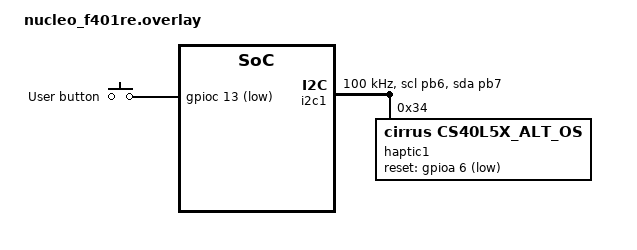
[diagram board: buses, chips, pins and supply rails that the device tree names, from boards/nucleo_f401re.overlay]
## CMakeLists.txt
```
# SPDX-License-Identifier: Apache-2.0
set(DRIVER_BASE "../../../..")
cmake_minimum_required(VERSION 3.20.0)

find_package(Zephyr REQUIRED HINTS $ENV{ZEPHYR_BASE})
project(stream_cs40l5x)

FILE(GLOB app_sources src/*.c ${DRIVER_BASE}/cs40l5x/*.c ${DRIVER_BASE}/common/fw_img.c)

# Only compile firmware data for the selected CS40L5x variant.
# Multiple firmware .c files define shared symbols.
list(REMOVE_ITEM app_sources
	${CMAKE_CURRENT_SOURCE_DIR}/src/cs40l50_firmware.c
	${CMAKE_CURRENT_SOURCE_DIR}/src/cs40l51_firmware.c
	${CMAKE_CURRENT_SOURCE_DIR}/src/cs40l52_firmware.c
	${CMAKE_CURRENT_SOURCE_DIR}/src/cs40l53_firmware.c
	${CMAKE_CURRENT_SOURCE_DIR}/src/cs40l50_pc_firmware.c)

if(CONFIG_HAPTICS_CS40L50)
	list(APPEND app_sources ${CMAKE_CURRENT_SOURCE_DIR}/src/cs40l50_firmware.c)
elseif(CONFIG_HAPTICS_CS40L51)
	list(APPEND app_sources ${CMAKE_CURRENT_SOURCE_DIR}/src/cs40l51_firmware.c)
elseif(CONFIG_HAPTICS_CS40L52)
	list(APPEND app_sources ${CMAKE_CURRENT_SOURCE_DIR}/src/cs40l52_firmware.c)
elseif(CONFIG_HAPTICS_CS40L53)
	list(APPEND app_sources ${CMAKE_CURRENT_SOURCE_DIR}/src/cs40l53_firmware.c)
elseif(CONFIG_HAPTICS_CS40L50_PC)
	list(APPEND app_sources ${CMAKE_CURRENT_SOURCE_DIR}/src/cs40l50_pc_firmware.c)
endif()

target_sources(app PRIVATE ${app_sources})

zephyr_library_add_dependencies(offsets_h)

zephyr_compile_definitions(CIRRUS_ZEPHYR_SAMPLE)

add_subdirectory(src)
```

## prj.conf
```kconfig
CONFIG_LOG=y
CONFIG_GPIO=y
CONFIG_HAPTICS=y
CONFIG_HAPTICS_CS40L5X_ALT_OS=y
CONFIG_HEAP_MEM_POOL_SIZE=8192
# Uncomment to Enable Debugging
CONFIG_SHELL=y
CONFIG_I2C_SHELL=y

CONFIG_HAPTICS_CS40L50=y
# CONFIG_HAPTICS_CS40L51 is not set
# CONFIG_HAPTICS_CS40L52 is not set
# CONFIG_HAPTICS_CS40L53 is not set
# CONFIG_HAPTICS_CS40L50_PC is not set
```

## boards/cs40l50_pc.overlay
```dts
#include <zephyr/dt-bindings/i2c/i2c.h>

&i2c1 {
        status = "okay";
        clock-frequency = <I2C_BITRATE_STANDARD>;
	pinctrl-0 = <&i2c1_scl_pb6 &i2c1_sda_pb7>;

        haptic1: cs40l50_pc@34 {
                compatible = "cirrus,cs40l5x_alt_os";
                reg = <0x34>;
                reset-gpios = <&gpioa 6 (GPIO_ACTIVE_LOW | GPIO_PULL_UP)>;
                status = "okay";
        };
};

&usart1 {
	status = "disabled";
};
```

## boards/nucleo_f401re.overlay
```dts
/*
 * Copyright (c) 2024 Cirrus Logic, Inc.
 *
 * SPDX-License-Identifier: Apache-2.0
 */

#include <zephyr/dt-bindings/i2c/i2c.h>

/ {
        aliases {
                sw0 = &button0;
        };

        buttons {
                compatible = "gpio-keys";

                button0: button_0 {
                        label = "User button";
                        gpios = <&gpioc 13 GPIO_ACTIVE_LOW>;
                        zephyr,code = <INPUT_KEY_0>;
                };
        };
};

&i2c1 {
        status = "okay";
        clock-frequency = <I2C_BITRATE_STANDARD>;
	pinctrl-0 = <&i2c1_scl_pb6 &i2c1_sda_pb7>;

        haptic1: cs40l5x@34 {
                compatible = "cirrus,cs40l5x_alt_os";
                reg = <0x34>;
                reset-gpios = <&gpioa 6 (GPIO_ACTIVE_LOW | GPIO_PULL_UP)>;
                status = "okay";
        };
};

&usart1 {
	status = "disabled";
};
```

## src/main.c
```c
/*
 * Copyright (c) Cirrus Logic 2026 All Rights Reserved, http://www.cirrus.com/
 *
 * Licensed under the Apache License, Version 2.0 (the License); you may
 * not use this file except in compliance with the License.
 * You may obtain a copy of the License at
 *
 * www.apache.org/licenses/LICENSE-2.0
 *
 * Unless required by applicable law or agreed to in writing, software
 * distributed under the License is distributed on an AS IS BASIS, WITHOUT
 * WARRANTIES OR CONDITIONS OF ANY KIND, either express or implied.
 * See the License for the specific language governing permissions and
 * limitations under the License.
 *
 */

#include <errno.h>

#include <zephyr/device.h>
#include <zephyr/devicetree.h>
#include <zephyr/kernel.h>
#include <zephyr/logging/log.h>
#include <zephyr/drivers/haptics.h>
#include <zephyr/drivers/i2c.h>
// #include "drivers/haptics/cs40l5x.h"
#include <zephyr/drivers/uart.h>
#include <zephyr/sys/util.h>
#include <sys/_stdint.h>

#define LOG_LEVEL 4

#include "cs40l5x_bsp.h"

LOG_MODULE_REGISTER(main);

/*
 * Get button configuration from the devicetree sw0 alias. This is mandatory.
 */
#define SW0_NODE DT_ALIAS(sw0)
#if !DT_NODE_HAS_STATUS_OKAY(SW0_NODE)
#error "Unsupported board: sw0 devicetree alias is not defined"
#endif
static const struct gpio_dt_spec button = GPIO_DT_SPEC_GET_OR(SW0_NODE, gpios, {0});
const struct gpio_dt_spec reset = GPIO_DT_SPEC_GET(DT_NODELABEL(haptic1), reset_gpios);

int main(void)
{
	int ret;
	// Initialize button

	if (!gpio_is_ready_dt(&button)) {
		printk("Error: button device %s is not ready\n", button.port->name);
		return 0;
	}

	ret = gpio_pin_configure_dt(&button, GPIO_INPUT);
	if (ret != 0) {
		printk("Error %d: failed to configure %s pin %d\n", ret, button.port->name,
		       button.pin);
		return 0;
	}

	const struct device *dev1 = DEVICE_DT_GET(DT_NODELABEL(haptic1));
	struct cs40l5x_haptic_source_config hap_cfg = {
		.index = CS40L5X_HAPTIC_ROM_CLICK_14_VCM,
		.bank = ROM_BANK,
	};
	cs40l5x_set_haptic_cfg(dev1, &hap_cfg);

	if (!dev1) {
		LOG_ERR("CS40L5X device not found");
		return -ENODEV;
	} else if (!device_is_ready(dev1)) {
		LOG_ERR("CS40L5X device %s is not ready", dev1->name);
		return -EIO;
	} else {
		LOG_INF("Found CS40L5X device %s", dev1->name);
	}
	// Show enabling all diagnostic tests
	uint32_t sample_diagnostic_cfg_mask = CS40L5X_DIAGNOSTIC_SHORT_CIRCUIT_TEST_CFG |
					      CS40L5X_DIAGNOSTIC_HW_TEST_CFG |
					      CS40L5X_DIAGNOSTIC_LRA_ELECTRIC_TEST_CFG |
					      CS40L5X_DIAGNOSTIC_LRA_MECHANICAL_TEST_CFG;
	haptics_cs40l5x_cfg_diagnostics(dev1, sample_diagnostic_cfg_mask);

	while (1) {
		if (gpio_pin_get_dt(&button)) {
			// Set error flag to omit VDD amp low, VDD amp high, ReDC low, and ReDC high
			// errors with sample_mask Set sample_mask to 0 to show all diagnostic
			// errors
			uint32_t sample_mask = CS40L5X_DIAG_VDD_AMP_HI | CS40L5X_DIAG_VDD_B_HI |
					       CS40L5X_DIAG_ReDC_HI | CS40L5X_DIAG_LE_HI;
			bool diagnostics_err = false;
			uint32_t diagnostics_data;

#ifdef TEST_DIAGNOSTICS_EXTREMES
			// Test low or high extremes of diagnostics test values
			bool low_extreme_test = true;
			haptics_cs40l5x_test_diagnostics(dev1, low_extreme_test);
#endif // TEST_DIAGNOSTICS_EXTREMES
			ret = haptics_cs40l5x_diagnostics(dev1, &diagnostics_data, sample_mask,
							  &diagnostics_err);
			if (ret) {
				LOG_ERR("Error running diagnostics");
			}

			if (diagnostics_err) {
				LOG_INF("Masked Diagnostic Flag TRUE");
			} else {
				LOG_INF("Masked Diagnostic Flag FALSE");
			}

			while (gpio_pin_get_dt(&button))
				;
		}
		k_msleep(10);
	}

	return 0;
}
```

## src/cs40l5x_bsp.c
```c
/*
 * Copyright (c) Cirrus Logic 2025-2026 All Rights Reserved, http://www.cirrus.com/
 *
 * Licensed under the Apache License, Version 2.0 (the License); you may
 * not use this file except in compliance with the License.
 * You may obtain a copy of the License at
 *
 * www.apache.org/licenses/LICENSE-2.0
 *
 * Unless required by applicable law or agreed to in writing, software
 * distributed under the License is distributed on an AS IS BASIS, WITHOUT
 * WARRANTIES OR CONDITIONS OF ANY KIND, either express or implied.
 * See the License for the specific language governing permissions and
 * limitations under the License.
 *
 */

#include "cs40l5x_bsp.h"
#include "cs40l5x.h"
#include <zephyr/kernel.h>
#include <zephyr/logging/log.h>
#include <zephyr/drivers/i2c.h>

LOG_MODULE_REGISTER(cirrus_cs40l5x);

struct cs40l5x_config {
	struct i2c_dt_spec i2c;
	void (*irq_cfg_func)(void);
	void (*irq_enable_func)(void);
	void (*irq_disable_func)(void);
};

int cs40l5x_i2c_write_reg_dt(const struct i2c_dt_spec *spec, const uint32_t reg_addr,
			     const uint32_t value)
{
	uint8_t addr_buf[4], data_buf[4], msg_buf[8];
	int i, j = 4;

	sys_put_be32(reg_addr, addr_buf);
	sys_put_be32(value, data_buf);

	for (i = 0; i < ARRAY_SIZE(addr_buf); i++) {
		msg_buf[i] = addr_buf[i];
		msg_buf[j] = data_buf[i];
		j++;
	}

	return i2c_write_dt(spec, msg_buf, sizeof(msg_buf));
}

int cs40l5x_i2c_read_reg_dt(const struct i2c_dt_spec *spec, const uint32_t reg_addr,
			    uint32_t *value)
{
	uint8_t write_buf[4], read_buf[4];
	int ret;

	sys_put_be32(reg_addr, write_buf);

	ret = i2c_write_read_dt(spec, write_buf, sizeof(write_buf), read_buf, sizeof(read_buf));
	if (ret < 0) {
		LOG_INF("cs40l5x_i2c_read_reg_dt error\n");
		return ret;
	}

	*value = sys_get_be32(read_buf);

	return 0;
}

int cs40l5x_update_reg_dt(const struct i2c_dt_spec *spec, const uint32_t reg_addr,
			  const uint32_t mask, const uint32_t value)
{
	uint32_t old_value, new_value;
	int ret;

	ret = cs40l5x_i2c_read_reg_dt(spec, reg_addr, &old_value);
	if (ret < 0) {
		return ret;
	}

	new_value = (old_value & ~mask) | (value & mask);
	if (new_value == old_value) {
		return 0;
	}

	return cs40l5x_i2c_write_reg_dt(spec, reg_addr, new_value);
}

/* write addr/word pairs */
int cs40l5x_write_array_dt(const struct i2c_dt_spec *spec, const uint32_t *array, uint32_t words)
{
	int i, ret;

	for (i = 0; i < words; i += 2) {
		ret = cs40l5x_i2c_write_reg_dt(spec, array[i], array[i + 1]);
		if (ret < 0) {
			return ret;
		}
	}
	return 0;
}

/**
 * Reads a register for a specific value for a specified amount of tries while waiting between
 * reads.
 *
 */
int cs40l5x_poll_reg_dt(const struct i2c_dt_spec *spec, const uint32_t reg_addr, uint32_t value,
			uint32_t tries, uint32_t delay)
{
	uint32_t tmp;
	int i, ret;

	for (i = 0; i < tries; i++) {
		ret = cs40l5x_i2c_read_reg_dt(spec, reg_addr, &tmp);
		if (ret < 0) {
			return ret;
		}

		if (tmp == value) {
			return 0;
		}

		k_msleep(delay);
	}
	return 0;
}

int cs40l5x_write_acked_reg_dt(const struct i2c_dt_spec *spec, const uint32_t reg_addr,
			       uint32_t val, uint32_t acked_val, uint8_t tries, uint32_t delay)
{
	int i, ret;

	ret = cs40l5x_i2c_write_reg_dt(spec, reg_addr, val);
	if (ret < 0) {
		return ret;
	}

	for (i = 0; i < tries; i++) {
		uint32_t temp_reg_val;

		k_msleep(delay);

		cs40l5x_i2c_read_reg_dt(spec, reg_addr, &temp_reg_val);

		if (temp_reg_val == acked_val) {
			return 0;
		}
	}

	return -1;
}

int cs40l5x_i2c_write_bulk_bus(const struct i2c_dt_spec *spec, const uint32_t reg_addr,
			       const uint8_t *buf, unsigned int num_bytes, uint16_t bus_addr)
{
	uint8_t addr_buf[4], *msg_buf;
	int i = 4, ret = 0;

	LOG_INF("cs40l5x_i2c_write_bulk_bus: reg=%x size=%d\n", reg_addr, num_bytes);

	msg_buf = k_malloc(num_bytes + 4);
	if (!msg_buf) {
		return -ENOMEM;
	}

	sys_put_be32(reg_addr, addr_buf);

	for (i = 0; i < ARRAY_SIZE(addr_buf); i++) {
		msg_buf[i] = addr_buf[i];
	}

	bytecpy(msg_buf + 4, buf, num_bytes);

	ret = i2c_write(spec->bus, msg_buf, 4 + num_bytes, bus_addr);

	k_free(msg_buf);
	return ret;
}

int cs40l5x_i2c_write_bus(const struct i2c_dt_spec *spec, const uint32_t reg_addr, uint32_t val,
			  uint16_t bus_addr)
{
	uint8_t addr_buf[4], data_buf[4], *msg_buf;
	int ret = 0;

	LOG_INF("cs40l5x_i2c_write_bus: reg=%x\n", reg_addr);

	msg_buf = k_malloc(8);
	if (!msg_buf) {
		return -ENOMEM;
	}

	sys_put_be32(reg_addr, addr_buf);
	sys_put_be32(val, data_buf);

	bytecpy(msg_buf, addr_buf, 4);
	bytecpy(msg_buf + 4, data_buf, 4);

	ret = i2c_write(spec->bus, msg_buf, 8, bus_addr);

	k_free(msg_buf);
	return ret;
}

int cs40l5x_i2c_write_bulk_dt(const struct i2c_dt_spec *spec, const uint32_t reg_addr,
			      const uint8_t *buf, unsigned int num_bytes)
{
	uint8_t addr_buf[4], *msg_buf;
	int i = 4, ret = 0;

	LOG_INF("cs40l5x_i2c_write_bulk_dt: reg=%x size=%d\n", reg_addr, num_bytes);

	msg_buf = k_malloc(num_bytes + 4);
	if (!msg_buf) {
		return -ENOMEM;
	}

	sys_put_be32(reg_addr, addr_buf);

	for (i = 0; i < ARRAY_SIZE(addr_buf); i++) {
		msg_buf[i] = addr_buf[i];
	}

	bytecpy(msg_buf + 4, buf, num_bytes);

	ret = i2c_write_dt(spec, msg_buf, sizeof(msg_buf) + num_bytes);

	k_free(msg_buf);
	return ret;
}

int cs40l5x_set_haptic_cfg(const struct device *dev, struct cs40l5x_haptic_source_config *hap_cfg)
{
	struct cs40l5x_bsp *data = dev->data;
	data->hap_cfg = *hap_cfg;
	return 0;
}

static int cs40l5x_write_fw_blocks(struct i2c_dt_spec *i2c, halo_boot_block_t *blocks,
				   int num_blocks)
{
	int i, ret;
	halo_boot_block_t block;
	uint32_t bytes, address;
	uint8_t *buffer;

	for (i = 0; i < num_blocks; i++) {
		block = blocks[i];
		bytes = block.block_size;
		address = block.address;
		buffer = (uint8_t *)block.bytes;
		ret = cs40l5x_i2c_write_bulk_dt(i2c, address, buffer, bytes);
		if (ret != 0) {
			return ret;
		}
		k_msleep(5);
	}

	return 0;
}

static int cs40l5x_gpi_get_level(cs40l5x_t *drv, unsigned int gpio)
{
	uint32_t gpio_status;
	struct i2c_dt_spec *i2c = drv->config.bsp_config.i2c;

	if (gpio > 13) {
		return -1;
	}

	regmap_read(i2c, CS40L5X_GPIO_STATUS1, &gpio_status);

	return ((gpio_status & (1 << (gpio - 1))) != 0);
}

enum cs40l5x_tuning_set {
	CS40L5X_TUNING_SET_A,
	CS40L5X_TUNING_SET_B,
};

static unsigned int get_tuning_set(cs40l5x_t *drv)
{
	// struct i2c_dt_spec *i2c = drv->config.bsp_config.i2c;
	int gpi_level;

	gpi_level = cs40l5x_gpi_get_level(drv, 1);
	return gpi_level;
}

/* NOTE: Example tunings and wavetable are not designed for general-purpose applications and should
 * be used for verification purposes only. Please contact your Cirrus Logic representative for
 * application specific waveforms and tunings
 */
static int cs40l5x_firmware_load(cs40l5x_t *drv)
{
	int num_blocks, ret;
	halo_boot_block_t *blocks;
	struct i2c_dt_spec *i2c = drv->config.bsp_config.i2c;
	uint32_t tuning_set;

	tuning_set = get_tuning_set(drv);

	num_blocks = cs40l5x_total_fw_blocks;
	blocks = (halo_boot_block_t *)cs40l5x_fw_blocks;
	ret = cs40l5x_write_fw_blocks(i2c, blocks, num_blocks);
	if (ret != 0) {
		return ret;
	}

	num_blocks = cs40l5x_total_coeff_blocks_0;
	blocks = (halo_boot_block_t *)cs40l5x_coeff_0_blocks;
	ret = cs40l5x_write_fw_blocks(i2c, blocks, num_blocks);
	if (ret != 0) {
		return ret;
	}

	LOG_INF("Loaded wavetable");
	return 0;
}

static int cs40l5x_clear_gpio_triggers(cs40l5x_t *drv)
{
	int i;
	struct i2c_dt_spec *i2c = drv->config.bsp_config.i2c;

	for (i = 0; i < 16; i++) {
		regmap_write(i2c, CS40L5X_GPIO_HANDLERS_BASE + i * 4, 0x1FF);
	}

	return 0;
}

static int cs40l5x_setup_gpi(cs40l5x_t *drv, unsigned int gpio)
{
	struct i2c_dt_spec *i2c = drv->config.bsp_config.i2c;

	if (gpio > 13) {
		return -1;
	}

	regmap_write(i2c, CS40L5X_GPIO_CTRL1 + (4 * (gpio - 1)),
		     CS40L5X_GPIO_CTRL_DIR_BITMASK | CS40L5X_GPIO_CTRL_FN_INPUT_OUTPUT);
	return 0;
}

static uint32_t cs40l5x_set_timer(uint32_t duration_ms, bsp_callback_t cb, void *cb_arg)
{
	k_msleep(duration_ms);
	return 0;
}

static uint32_t cs40l5x_register_gpio_cb(const struct gpio_dt_spec *gpio, bsp_callback_t cb,
					 void *cb_arg)
{
	// TODO
	return 0;
}

static uint32_t cs40l5x_set_gpio(const struct gpio_dt_spec *gpio, uint8_t gpio_state)
{
	// TODO
	return 0;
}

bsp_driver_if_t cs40l5x_bsp_driver_if = {.set_timer = cs40l5x_set_timer,
					 .register_gpio_cb = cs40l5x_register_gpio_cb,
					 .set_gpio = cs40l5x_set_gpio};

bsp_driver_if_t *bsp_driver_if_g = &cs40l5x_bsp_driver_if;

/* ===================================================================================== */

static int cs40l5x_init(const struct device *dev)
{
	struct cs40l5x_config *config = (struct cs40l5x_config *)dev->config;
	struct cs40l5x_bsp *data = dev->data;
	cs40l5x_t *drv = &data->priv;
	uint32_t val;
	int ret;
	LOG_INF("cs40l5x_init\n");

	drv->config.bsp_config.i2c = &config->i2c;
	drv->config.syscfg_regs = cs40l5x_syscfg_regs;
	drv->config.syscfg_regs_total = CS40L5X_SYSCFG_REGS_TOTAL;
	drv->config.is_ext_bst = true;

	static const struct gpio_dt_spec reset =
		GPIO_DT_SPEC_GET(DT_NODELABEL(haptic1), reset_gpios);

	if (!gpio_is_ready_dt(&reset)) {
		LOG_INF("cs40l5x reset pin GPIO port is not ready.\n");
		return 0;
	}

	ret = gpio_pin_configure_dt(&reset, GPIO_OUTPUT_INACTIVE);
	if (ret != 0) {
		LOG_INF("cs40l5x configuring reset pin failed: %d\n", ret);
		return 0;
	}

	drv->config.bsp_config.reset_gpio_id = &reset;
	// Activate RESET for at least T_RLPW (1ms)
	gpio_pin_set_dt(&reset, BSP_GPIO_ACTIVE);
	k_msleep(2);
	// Wait for Lochnagar to boot
	gpio_pin_set_dt(&reset, BSP_GPIO_INACTIVE);
	k_msleep(2500);

	if (!i2c_is_ready_dt(&config->i2c)) {
		LOG_INF("cs40l5x no I2C\n");
		return -ENODEV;
	}

	ret = cs40l5x_reset(drv);
	if (ret < 0) {
		return ret;
	}

	regmap_read(&config->i2c, FIRMWARE_CS40L5X_HALO_STATE, &val);
	LOG_INF("cs40l5x_init: HALO_STATE = %x\n", val);

	LOG_INF("cs40l5x_calibrate\n");
	ret = cs40l5x_calibrate(drv);
	if (ret < 0) {
		LOG_INF("cs40l5x_calibrate error\n");
		return ret;
	}

	ret = cs40l5x_boot(drv, NULL);
	if (ret < 0) {
		LOG_INF("cs40l5x_boot error\n");
		return ret;
	}

	cs40l5x_setup_gpi(drv, 1);

	LOG_INF("cs40l5x_firmware_load\n");
	ret = cs40l5x_firmware_load(drv);
	if (ret < 0) {
		LOG_INF("cs40l5x_firmware_load error\n");
		return ret;
	}

	ret = regmap_write(&config->i2c, CS40L5X_DSP1_CCM_CORE_CONTROL, 0x00000281);
	if (ret < 0) {
		LOG_INF("cs40l5x_boot error\n");
		return ret;
	}

	cs40l5x_clear_gpio_triggers(drv);

	k_msleep(1000);

	/* to-do */
	regmap_read(&config->i2c, FIRMWARE_CS40L5X_HALO_STATE, &val);
	LOG_INF("cs40l5x_init: HALO_STATE = %x\n", val);

	//    config->irq_cfg_func();
	//    config->irq_enable_func();

	return 0;
}

static int haptics_cs40l5x_stop_output(const struct device *dev)
{
	return 0;
}

static int haptics_cs40l5x_start_output(const struct device *dev)
{
	struct cs40l5x_bsp *data = (struct cs40l5x_bsp *)dev->data;
	LOG_INF("haptics_cs40l5x_start_output, bank=%x, index=%x\n", data->hap_cfg.bank,
		data->hap_cfg.index);

	cs40l5x_trigger(&data->priv, data->hap_cfg.index, data->hap_cfg.bank);

	return 0;
}

static int haptics_cs40l5x_decode_diagnostics(uint32_t data)
{
	for (int i = 0; i < NUM_DIAGNOSTIC_FLAGS; i++) {
		if (data & cs40l5x_diag_flags[i].value) {
			LOG_INF("Diagnostics error %d: %s", i, cs40l5x_diag_flags[i].msg);
		}
	}
	return BSP_STATUS_OK;
}

int haptics_cs40l5x_cfg_diagnostics(const struct device *dev, uint32_t test_mask)
{
	uint32_t ret;
	struct cs40l5x_bsp *data = dev->data;
	cs40l5x_t *drv = &data->priv;
	drv->config.diag_data.diagnostics_config = test_mask & CS40L5X_DIAGNOSTIC_TEST_CFG_MASK;
	ret = cs40l5x_set_diagnostic_config(drv);
	return ret;
}

int haptics_cs40l5x_diagnostics(const struct device *dev, uint32_t *diag_data, uint32_t mask,
				bool *mask_flag)
{
#if defined(CONFIG_HAPTICS_CS40L53)
	LOG_ERR("Diagnostics not supported for L53 firmware!");
	return BSP_STATUS_FAIL;

#elif defined(CONFIG_HAPTICS_CS40L50) || defined(CONFIG_HAPTICS_CS40L51) ||                        \
	defined(CONFIG_HAPTICS_CS40L52)
	uint32_t ret;
	struct cs40l5x_config *config = (struct cs40l5x_config *)dev->config;
	struct cs40l5x_bsp *data = dev->data;
	cs40l5x_t *drv = &data->priv;

	ret = cs40l5x_diagnostics(drv);
	if (ret) {
		return ret;
	}
	ret = regmap_read(&config->i2c, DIAGNOSTICS_RESULT, diag_data);
	if (ret) {
		return ret;
	}

	haptics_cs40l5x_decode_diagnostics(*diag_data);
	if (*diag_data & ~mask) {
		*mask_flag = true;
	} else {
		*mask_flag = false;
	}
	return BSP_STATUS_OK;
#endif
}

#ifdef TEST_DIAGNOSTICS_EXTREMES
int haptics_cs40l5x_test_diagnostics(const struct device *dev, bool low)
{
	uint32_t ret;
	struct cs40l5x_config *config = (struct cs40l5x_config *)dev->config;
	struct cs40l5x_bsp *data = dev->data;
	cs40l5x_t *drv = &data->priv;

	if (low) {
		LOG_INF("\nTest \"too low\" flags...");

		ret = regmap_write(&config->i2c, DIAGNOSTICS_VDD_AMP_MIN, 4514);
		if (ret) {
			return ret;
		}
		ret = regmap_write(&config->i2c, DIAGNOSTICS_VDD_B_MIN, 4514);
		if (ret) {
			return ret;
		}
		ret = regmap_write(&config->i2c, DIAGNOSTICS_REDC_MIN, 0x7fffff);
		if (ret) {
			return ret;
		}
		ret = regmap_write(&config->i2c, DIAGNOSTICS_LE_MIN, 0x7fffff);
		if (ret) {
			return ret;
		}
		ret = regmap_write(&config->i2c, DIAGNOSTICS_F0_MIN, 0x7fffff);
		if (ret) {
			return ret;
		}
		ret = regmap_write(&config->i2c, DIAGNOSTICS_Q_MIN, 0x7fffff);
		if (ret) {
			return ret;
		}
		ret = regmap_write(&config->i2c, DIAGNOSTICS_BEMF_MIN, 0x7fffff);
		if (ret) {
			return ret;
		}
		ret = regmap_write(&config->i2c, DIAGNOSTICS_ZRES_MIN, 0x7fffff);
		if (ret) {
			return ret;
		}
	} else {
		LOG_INF("\n\nTest \"too high\" flags...");

		ret = regmap_write(&config->i2c, DIAGNOSTICS_VDD_AMP_MAX, 0x0);
		if (ret) {
			return ret;
		}
		ret = regmap_write(&config->i2c, DIAGNOSTICS_VDD_B_MAX, 0x0);
		if (ret) {
			return ret;
		}
		ret = regmap_write(&config->i2c, DIAGNOSTICS_REDC_MAX, 0x0);
		if (ret) {
			return ret;
		}
		ret = regmap_write(&config->i2c, DIAGNOSTICS_LE_MAX, 0x0);
		if (ret) {
			return ret;
		}
		ret = regmap_write(&config->i2c, DIAGNOSTICS_F0_MAX, 0x0);
		if (ret) {
			return ret;
		}
		ret = regmap_write(&config->i2c, DIAGNOSTICS_Q_MAX, 0x0);
		if (ret) {
			return ret;
		}
		ret = regmap_write(&config->i2c, DIAGNOSTICS_BEMF_MAX, 0x0);
		if (ret) {
			return ret;
		}
		ret = regmap_write(&config->i2c, DIAGNOSTICS_ZRES_MAX, 0x0);
		if (ret) {
			return ret;
		}

		return BSP_STATUS_OK;
	}
}
#endif // TEST_DIAGNOSTICS_EXTREMES

static const struct haptics_driver_api cs40l5x_driver_api = {
	.start_output = &haptics_cs40l5x_start_output,
	.stop_output = &haptics_cs40l5x_stop_output,
};

// static void cs40l5x_isr(void *arg)
// {
// }

#define CS40L5X_INIT(inst)                                                                         \
                                                                                                   \
	static const struct cs40l5x_config cs40l5x_config_##inst = {                               \
		.i2c = I2C_DT_SPEC_INST_GET(inst),                                                 \
	};                                                                                         \
                                                                                                   \
	static struct cs40l5x_bsp cs40l5x_bsp_data_##inst = {                                      \
                                                                                                   \
	};                                                                                         \
                                                                                                   \
	PM_DEVICE_DT_INST_DEFINE(inst, cs40l5x_pm_action);                                         \
                                                                                                   \
	DEVICE_DT_INST_DEFINE(inst, &cs40l5x_init, NULL, &cs40l5x_bsp_data_##inst,                 \
			      &cs40l5x_config_##inst, POST_KERNEL, CONFIG_HAPTICS_INIT_PRIORITY,   \
			      &cs40l5x_driver_api);

DT_INST_FOREACH_STATUS_OKAY(CS40L5X_INIT)

/* ===================================================================================== */
```

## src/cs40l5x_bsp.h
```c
/*
 * Copyright (c) Cirrus Logic 2026 All Rights Reserved, http://www.cirrus.com/
 *
 * Licensed under the Apache License, Version 2.0 (the License); you may
 * not use this file except in compliance with the License.
 * You may obtain a copy of the License at
 *
 * www.apache.org/licenses/LICENSE-2.0
 *
 * Unless required by applicable law or agreed to in writing, software
 * distributed under the License is distributed on an AS IS BASIS, WITHOUT
 * WARRANTIES OR CONDITIONS OF ANY KIND, either express or implied.
 * See the License for the specific language governing permissions and
 * limitations under the License.
 *
 */

#ifndef CS40L5X_BSP_H
#define CS40L5X_BSP_H

#define DT_DRV_COMPAT cirrus_cs40l5x_alt_os

#include "cs40l5x.h"
#include <stdbool.h>

#include <zephyr/sys/byteorder.h>
#include <zephyr/device.h>
#include <zephyr/pm/device.h>
#include <zephyr/pm/device_runtime.h>
#include <zephyr/devicetree.h>
#include <zephyr/drivers/gpio.h>
#include <zephyr/drivers/haptics.h>
#include <zephyr/irq.h>
#include <zephyr/kernel.h>
#include <zephyr/logging/log.h>
#include <zephyr/sys/util.h>

#ifdef CONFIG_HAPTICS_CS40L50
#include "cs40l50_firmware.h"
#define cs40l5x_total_fw_blocks cs40l50_total_fw_blocks
#define cs40l5x_fw_blocks       cs40l50_fw_blocks

#define cs40l5x_total_coeff_blocks_0 cs40l50_total_coeff_blocks_0
#define cs40l5x_coeff_0_blocks       cs40l50_coeff_0_blocks
#endif

#ifdef CONFIG_HAPTICS_CS40L50_PC
#include "cs40l50_pc_firmware.h"
#define cs40l5x_total_fw_blocks cs40l50_pc_total_fw_blocks
#define cs40l5x_fw_blocks       cs40l50_pc_fw_blocks

#define cs40l5x_total_coeff_blocks_0 cs40l50_pc_total_coeff_blocks_0
#define cs40l5x_coeff_0_blocks       cs40l50_pc_coeff_0_blocks
#endif

#ifdef CONFIG_HAPTICS_CS40L51
#include "cs40l51_firmware.h"
#define cs40l5x_total_fw_blocks cs40l51_total_fw_blocks
#define cs40l5x_fw_blocks       cs40l51_fw_blocks

#define cs40l5x_total_coeff_blocks_0 cs40l51_total_coeff_blocks_0
#define cs40l5x_coeff_0_blocks       cs40l51_coeff_0_blocks
#endif

#ifdef CONFIG_HAPTICS_CS40L52
#include "cs40l52_firmware.h"
#define cs40l5x_total_fw_blocks cs40l52_total_fw_blocks
#define cs40l5x_fw_blocks       cs40l52_fw_blocks

#define cs40l5x_total_coeff_blocks_0 cs40l52_total_coeff_blocks_0
#define cs40l5x_coeff_0_blocks       cs40l52_coeff_0_blocks
#endif

#ifdef CONFIG_HAPTICS_CS40L53
#include "cs40l53_firmware.h"
#define cs40l5x_total_fw_blocks cs40l53_total_fw_blocks
#define cs40l5x_fw_blocks       cs40l53_fw_blocks

#define cs40l5x_total_coeff_blocks_0 cs40l53_total_coeff_blocks_0
#define cs40l5x_coeff_0_blocks       cs40l53_coeff_0_blocks
#endif

#define regmap_cp_config_t     struct i2c_dt_spec
#define REGMAP_GET_CP(x)       x->config.bsp_config.i2c
#define regmap_read            cs40l5x_i2c_read_reg_dt
#define regmap_write           cs40l5x_i2c_write_reg_dt
#define regmap_update_reg      cs40l5x_update_reg_dt
#define regmap_write_array     cs40l5x_write_array_dt
#define regmap_poll_reg        cs40l5x_poll_reg_dt
#define regmap_write_acked_reg cs40l5x_write_acked_reg_dt
#define regmap_write_blocks    cs40l5x_i2c_write_bulk_dt

// Enable or disable range testing of maximum and minimum diagnostic flags
// #define TEST_DIAGNOSTICS_EXTREMES

/***********************************************************************************************************************
 * LITERALS & CONSTANTS
 **********************************************************************************************************************/

/**
 * @defgroup BSP_STATUS_
 * @brief Return values for all public and most private API calls
 *
 * @{
 */
#define BSP_STATUS_OK   (0)
#define BSP_STATUS_FAIL (1)
/** @} */

/**
 * @defgroup BSP_TIMER_DURATION_
 * @brief Values used for calls to BSP timer APIs
 *
 * @see bsp_driver_if_t.set_timer
 *
 * @{
 */
#define BSP_TIMER_DURATION_1MS  (1)
#define BSP_TIMER_DURATION_2MS  (2)
#define BSP_TIMER_DURATION_5MS  (5)
#define BSP_TIMER_DURATION_10MS (10)
#define BSP_TIMER_DURATION_2S   (2000)
/** @} */

/**
 * Value to indicate driving a GPIO low
 *
 * @see bsp_driver_if_t.set_gpio
 *
 */
#define BSP_GPIO_LOW      (0)
#define BSP_GPIO_INACTIVE (0)

/**
 * Value to indicate driving a GPIO high
 *
 * @see bsp_driver_if_t.set_gpio
 *
 */
#define BSP_GPIO_HIGH   (1)
#define BSP_GPIO_ACTIVE (1)

/**
 * Value to indicate enabling or disabling a supply
 *
 * @see bsp_driver_if_t.set_supply
 *
 */
#define BSP_SUPPLY_DISABLE (0)
#define BSP_SUPPLY_ENABLE  (1)

/***********************************************************************************************************************
 * MACROS
 **********************************************************************************************************************/

/**
 * Macro to extract byte from multi-byte word
 *
 * @param [in] A                multi-byte word
 * @param [in] B                zero-indexed byte position
 *
 * @return                      byte at position B in word A
 */
#define GET_BYTE_FROM_WORD(A, B) ((A >> (B * 8)) & 0xFF)

/**
 * Macro to insert byte into multi-byte word
 *
 * @param [in, out] A           multi-byte word
 * @param [in] B                byte value
 * @param [in] C                zero-indexed byte position
 *
 * @return none
 */
#define ADD_BYTE_TO_WORD(A, B, C)                                                                  \
	{                                                                                          \
		A &= (0xFFFFFF00 << (C * 8));                                                      \
		A |= ((B & 0xFF) << (C * 8));                                                      \
	}

/***********************************************************************************************************************
 * ENUMS, STRUCTS, UNIONS, TYPEDEFS
 **********************************************************************************************************************/

/**
 * Callback type for BSP-to-Driver callbacks
 *
 * @param [in] status           Result of BSP call
 * @param [in] arg              Argument registered when BSP call was issued
 *
 * @return none
 *
 * @see BSP_STATUS_
 *
 */
typedef void (*bsp_callback_t)(uint32_t status, void *arg);

/**
 * BSP-to-Driver public API
 *
 * All API calls return a status @see CS40L5X_STATUS_
 *
 */
typedef struct {
	/**
	 * Set GPIO to LOW/HIGH
	 *
	 * @param [in] gpio_id      ID for GPIO to change - can be defined in implementation header
	 * @param [in] gpio_state   LOW or HIGH
	 *
	 * @return
	 * - BSP_STATUS_FAIL        if gpio_id is invalid, or call to MCU HAL fails
	 * - BSP_STATUS_OK          otherwise
	 *
	 * @see BSP_GPIO_LOW BSP_GPIO_HIGH
	 *
	 */
	uint32_t (*set_gpio)(const struct gpio_dt_spec *gpio_id, uint8_t gpio_state);

	/**
	 * Enable or disable a supply
	 *
	 * @param [in] supply_id      ID for supply to change - can be defined in implementation
	 * header
	 * @param [in] supply_state   Enable or Disable
	 *
	 * @return
	 * - BSP_STATUS_FAIL        if gpio_id is invalid, or call to MCU HAL fails
	 * - BSP_STATUS_OK          otherwise
	 *
	 * @note this function shouldn't return until the supply has finished rising or falling
	 *
	 * @see BSP_SUPPLY_ENABLE BSP_SUPPLY_DISABLE
	 *
	 */
	uint32_t (*set_supply)(uint32_t supply_id, uint8_t supply_state);

	/**
	 * Register GPIO Callback
	 *
	 * Register a callback for when a GPIO changes state.
	 *
	 * @param [in] gpio_id      ID for GPIO to change - can be defined in implementation header
	 * @param [in] cb           pointer to callback function
	 * @param [in] cb_arg       pointer to argument to use when calling callback
	 *
	 * @return
	 * - BSP_STATUS_FAIL        if gpio_id is invalid, if any pointers are NULL
	 * - BSP_STATUS_OK          otherwise
	 *
	 */
	uint32_t (*register_gpio_cb)(const struct gpio_dt_spec *gpio, bsp_callback_t cb,
				     void *cb_arg);

	/**
	 * Set a timer to expire
	 *
	 * @param [in] duration_ms  Duration of timer in milliseconds
	 * @param [in] cb           pointer to callback function
	 * @param [in] cb_arg       pointer to argument to use when calling callback
	 *
	 * @return
	 * - BSP_STATUS_FAIL        if duration_ms is invalid, if any pointers are NULL
	 * - BSP_STATUS_OK          otherwise
	 *
	 */
	uint32_t (*set_timer)(uint32_t duration_ms, bsp_callback_t cb, void *cb_arg);

	/**
	 * Reset I2C Port used for a specific device
	 *
	 * Abort the current I2C transaction and reset the I2C peripheral.  This is required for
	 * quickly handling of CS40L5X IRQ events.
	 *
	 * @param [in] bsp_dev_id       ID of the I2C device corresponding to the I2C peripheral to
	 * reset
	 * @param [out] was_i2c_busy    flag to indicate whether an I2C transaction was in progress
	 * when reset
	 *
	 * @return
	 * - BSP_STATUS_FAIL        if bsp_dev_id is invalid
	 * - BSP_STATUS_OK          otherwise
	 *
	 */
	uint32_t (*i2c_reset)(uint32_t bsp_dev_id, bool *was_i2c_busy);

	/**
	 * Perform an I2C Write-Repeated Start-Read transaction
	 *
	 * This is the common way to read data from an I2C device with a register file, since the
	 * address of the register to read must first be written to the device before reading any
	 * contents.
	 *
	 * Perform transaction in the order:
	 * 1. I2C Start
	 * 2. I2C write of \b write_length bytes from \b write_buffer
	 * 3. I2C Repeated Start
	 * 4. I2C read of \b read_length bytes into \b read_buffer
	 * 5. I2C Stop
	 *
	 * BSP will decode \b bsp_dev_id to the correct I2C bus and I2C address.
	 *
	 * @param [in] bsp_dev_id       ID of the I2C device corresponding to the I2C peripheral to
	 * reset
	 * @param [in] write_buffer     pointer to array of bytes to write
	 * @param [in] write_length     total number of bytes in \b write_buffer
	 * @param [in] read_buffer      pointer to array of bytes to load with I2C bytes read
	 * @param [in] read_length      total number of bytes to read into \b read_buffer
	 * @param [in] cb               pointer to callback function
	 * @param [in] cb_arg           pointer to argument to use when calling callback
	 *
	 * @return
	 * - BSP_STATUS_FAIL            if bsp_dev_id is invalid, if any portion of I2C transaction
	 * failed
	 * - BSP_STATUS_OK              otherwise
	 *
	 */
	uint32_t (*i2c_read_repeated_start)(uint32_t bsp_dev_id, uint8_t *write_buffer,
					    uint32_t write_length, uint8_t *read_buffer,
					    uint32_t read_length, bsp_callback_t cb, void *cb_arg);

	/**
	 * Perform I2C Write
	 *
	 * BSP will decode \b bsp_dev_id to the correct I2C bus and I2C address.
	 *
	 * @param [in] bsp_dev_id       ID of the I2C device corresponding to the I2C peripheral to
	 * reset
	 * @param [in] write_buffer     pointer to array of bytes to write
	 * @param [in] write_length     total number of bytes in \b write_buffer
	 * @param [in] cb               pointer to callback function
	 * @param [in] cb_arg           pointer to argument to use when calling callback
	 *
	 * @return
	 * - BSP_STATUS_FAIL            if bsp_dev_id is invalid, if any portion of I2C transaction
	 * failed
	 * - BSP_STATUS_OK              otherwise
	 *
	 */
	uint32_t (*i2c_write)(uint32_t bsp_dev_id, uint8_t *write_buffer, uint32_t write_length,
			      bsp_callback_t cb, void *cb_arg);

	/**
	 * Perform a Double-Buffered ("db") I2C Write
	 *
	 * This will first write the contents of \b write_buffer_0 to the I2C device, and then write
	 * the contents of
	 * \b write_buffer_1.
	 *
	 * @param [in] bsp_dev_id       ID of the I2C device corresponding to the I2C peripheral to
	 * reset
	 * @param [in] write_buffer_0   pointer to array of first batch of bytes to write
	 * @param [in] write_length_0   total number of bytes in \b write_buffer_0
	 * @param [in] write_buffer_1   pointer to array of second batch of bytes to write
	 * @param [in] write_length_1   total number of bytes in \b write_buffer_1
	 * @param [in] cb               pointer to callback function
	 * @param [in] cb_arg           pointer to argument to use when calling callback
	 *
	 * @return
	 * - BSP_STATUS_FAIL            if bsp_dev_id is invalid, if any portion of I2C transaction
	 * failed
	 * - BSP_STATUS_OK              otherwise
	 *
	 */
	uint32_t (*i2c_db_write)(uint32_t bsp_dev_id, uint8_t *write_buffer_0,
				 uint32_t write_length_0, uint8_t *write_buffer_1,
				 uint32_t write_length_1, bsp_callback_t cb, void *cb_arg);

	/**
	 * Perform a SPI read
	 *
	 * This function will write and then read back data from a SPI device with a register file.
	 * Padding will automatically be added.
	 *
	 * Perform transaction in the order:
	 * 1. SPI CS low
	 * 2. SPI write of \b addr_length bytes from \b addr_buffer
	 * 3. SPI write of pad_len padding clock cycles
	 * 4. SPI read of \b data_length bytes into \b data_buffer
	 * 5. SPI CS high
	 *
	 * BSP will decode \b bsp_dev_id to the correct SPI bus and SPI address.
	 *
	 * @param [in] bsp_dev_id       ID of the SPI device corresponding to the SPI peripheral to
	 * reset
	 * @param [in] addr_buffer      pointer to array of bytes to write
	 * @param [in] addr_length      total number of bytes in \b write_buffer
	 * @param [in] data_buffer      pointer to array of bytes to load with SPI bytes read
	 * @param [in] data_length      total number of bytes to read into \b read_buffer
	 * @param [in] pad_len          total number of bytes of padding between the addr write
	 * transaction and the data read
	 *
	 * @return
	 * - BSP_STATUS_FAIL            if bsp_dev_id is invalid, if any portion of SPI transaction
	 * failed
	 * - BSP_STATUS_OK              otherwise
	 *
	 */
	uint32_t (*spi_read)(uint32_t bsp_dev_id, uint8_t *addr_buffer, uint32_t addr_length,
			     uint8_t *data_buffer, uint32_t data_length, uint32_t pad_len);

	/**
	 * Perform a SPI write
	 *
	 * This function will write data to a SPI device with a register file. Padding will
	 * automatically be added.
	 *
	 * Perform transaction in the order:
	 * 1. SPI CS low
	 * 2. SPI write of \b addr_length bytes from \b addr_buffer
	 * 3. SPI write of pad_len padding clock cycles
	 * 4. SPI write of \b data_length bytes into \b data_buffer
	 * 5. SPI CS high
	 *
	 * BSP will decode \b bsp_dev_id to the correct SPI bus and SPI address.
	 *
	 * @param [in] bsp_dev_id       ID of the SPI device corresponding to the SPI peripheral to
	 * reset
	 * @param [in] addr_buffer      pointer to array of bytes to write
	 * @param [in] addr_length      total number of bytes in \b write_buffer
	 * @param [in] data_buffer      pointer to array of bytes to load with SPI bytes read
	 * @param [in] data_length      total number of bytes to read into \b read_buffer
	 * @param [in] pad_len          total number of bytes of padding between the addr write
	 * transaction and the data write
	 *
	 * @return
	 * - BSP_STATUS_FAIL            if bsp_dev_id is invalid, if any portion of SPI transaction
	 * failed
	 * - BSP_STATUS_OK              otherwise
	 *
	 */
	uint32_t (*spi_write)(uint32_t bsp_dev_id, uint8_t *addr_buffer, uint32_t addr_length,
			      uint8_t *data_buffer, uint32_t data_length, uint32_t pad_len);

	/**
	 * Global enable of interrupts
	 *
	 * Since this is MCU-platform specific, it is included as part of the BSP-Driver interface.
	 *
	 * @return
	 * - BSP_STATUS_FAIL            if bsp_dev_id is invalid, if any portion of I2C transaction
	 * failed
	 * - BSP_STATUS_OK              otherwise
	 *
	 */
	uint32_t (*enable_irq)(void);

	/**
	 * Global disable of interrupts
	 *
	 * Since this is MCU-platform specific, it is included as part of the BSP-Driver interface.
	 *
	 * @return
	 * - BSP_STATUS_FAIL            if bsp_dev_id is invalid, if any portion of I2C transaction
	 * failed
	 * - BSP_STATUS_OK              otherwise
	 *
	 */
	uint32_t (*disable_irq)(void);

	/**
	 * Temporarily change the clock speed of the SPI bus
	 *
	 * Since portions of a driver may have a maximum bus speed limitation, this API allows for
	 * temporarily specifying the maximum bus speed.
	 *
	 * @return
	 * - BSP_STATUS_FAIL            if a slower speed is requested by the current SPI speed is
	 * already slowest available
	 * - BSP_STATUS_OK              otherwise
	 *
	 */
	uint32_t (*spi_throttle_speed)(uint32_t speed_hz);

	/**
	 * Restore the clock speed of the SPI bus to the original configuration
	 *
	 * After a call to spi_throttle_speed(), this API allows for restoring the bus clock speed
	 * of the SPI bus to the original configuration given during BSP initialization.
	 *
	 * @return                      BSP_STATUS_OK always
	 *
	 */
	uint32_t (*spi_restore_speed)(void);
} bsp_driver_if_t;

enum cs40l5x_haptic_rom_bank {
	CS40L5X_HAPTIC_ROM_BUZZ_160,
	CS40L5X_HAPTIC_ROM_CLICK_1,
	CS40L5X_HAPTIC_ROM_CLICK_2,
	CS40L5X_HAPTIC_ROM_CLICK_3,
	CS40L5X_HAPTIC_ROM_CLICK_4,
	CS40L5X_HAPTIC_ROM_CLICK_5,
	CS40L5X_HAPTIC_ROM_CLICK_6,
	CS40L5X_HAPTIC_ROM_CLICK_7,
	CS40L5X_HAPTIC_ROM_CLICK_8,
	CS40L5X_HAPTIC_ROM_BUZZ_240,
	CS40L5X_HAPTIC_ROM_CLICK_1_VCM,
	CS40L5X_HAPTIC_ROM_CLICK_2_VCM,
	CS40L5X_HAPTIC_ROM_CLICK_3_VCM,
	CS40L5X_HAPTIC_ROM_CLICK_4_VCM,
	CS40L5X_HAPTIC_ROM_CLICK_5_VCM,
	CS40L5X_HAPTIC_ROM_CLICK_6_VCM,
	CS40L5X_HAPTIC_ROM_CLICK_7_VCM,
	CS40L5X_HAPTIC_ROM_CLICK_8_VCM,
	CS40L5X_HAPTIC_ROM_CLICK_9_VCM,
	CS40L5X_HAPTIC_ROM_CLICK_10_VCM,
	CS40L5X_HAPTIC_ROM_CLICK_11_VCM,
	CS40L5X_HAPTIC_ROM_CLICK_12_VCM,
	CS40L5X_HAPTIC_ROM_CLICK_13_VCM,
	CS40L5X_HAPTIC_ROM_CLICK_14_VCM,
	CS40L5X_HAPTIC_ROM_CLICK_15_VCM,
	CS40L5X_HAPTIC_ROM_ZIPPER,
	CS40L5X_HAPTIC_ROM_BUMP,
};

struct cs40l5x_haptic_source_config {
	int index;
	int bank;
};

struct cs40l5x_bsp {
	cs40l5x_t priv;
	struct cs40l5x_haptic_source_config hap_cfg;
};

extern const struct gpio_dt_spec reset;
extern bsp_driver_if_t *bsp_driver_if_g;

/**
 * Writes the contents of a single register/memory address via i2c
 *
 * @param [in] spec                 Pointer to the i2c struct reference
 * @param [in] reg_addr             32-bit address to be written
 * @param [in] value                32-bit value to be written
 *
 * @return
 * - -EIO                           on failure
 * - BSP_STATUS_OK                  otherwise
 */
int cs40l5x_i2c_write_reg_dt(const struct i2c_dt_spec *spec, const uint32_t reg_addr,
			     const uint32_t value);

/**
 * Reads the contents of a single register/memory address via i2c
 *
 * @param [in] spec                 Pointer to the i2c struct reference
 * @param [in] reg_addr             32-bit address to be read
 * @param [out] value               Pointer to variable to read data into
 *
 * @return
 * - -EIO                           on failure
 * - BSP_STATUS_OK                  otherwise
 */
int cs40l5x_i2c_read_reg_dt(const struct i2c_dt_spec *spec, const uint32_t reg_addr,
			    uint32_t *value);

/**
 * Read-Modify-Write of register using 32-bit mask via i2c
 *
 * @param [in] spec                 Pointer to the i2c struct reference
 * @param [in] reg_addr             32-bit address to be read
 * @param [in] mask                 32-bit mask for bits to be modified
 * @param [in] value                32-bit value to be written
 *
 * @return
 * - BSP_STATUS_FAIL                on read failure
 * - BSP_STATUS_OK                  otherwise
 */
int cs40l5x_update_reg_dt(const struct i2c_dt_spec *spec, const uint32_t reg_addr,
			  const uint32_t mask, const uint32_t value);

/**
 * Writes an array of addr/word pairs to its corresponding register/memory addresses via i2c
 *
 * @param [in] spec                 Pointer to the i2c struct reference
 * @param [in] array                Array of address/word pairs with the addr at array[i] and the
 * word at array[i+1]
 * @param [in] words                Size of array to be written (number of words * 2)
 *
 * @return
 * - BSP_STATUS_FAIL                on write failure
 * - BSP_STATUS_OK                  otherwise
 */
int cs40l5x_write_array_dt(const struct i2c_dt_spec *spec, const uint32_t *array, uint32_t words);

/**
 * Reads a register via i2c for a specific value for a set number of tries while waiting
 * between reads.
 *
 * @param [in] spec                 Pointer to the i2c struct reference
 * @param [in] reg_addr             Address to read from.
 * @param [in] value                Value to compare the read value to.
 * @param [in] tries                How many times to read the address.
 * @param [in] delay                How long to delay between each read.
 *
 * @return
 * - BSP_STATUS_FAIL                if the i2c read failed or if value not polled
 *                                  within the amount of tries
 * - BSP_STATUS_OK                  otherwise
 */
int cs40l5x_poll_reg_dt(const struct i2c_dt_spec *spec, const uint32_t reg_addr, uint32_t value,
			uint32_t tries, uint32_t delay);

/**
 * Write a value to a register via i2c and poll for an updated value
 *
 * @param [in] spec                 Pointer to the i2c struct reference
 * @param [in] reg_addr             Address to read from.
 * @param [in] val                  32-bit value to be written
 * @param [in] acked_val            Value to poll for after writing 'val'
 * @param [in] tries                How many times to read the address.
 * @param [in] delay                How long to delay between each read (ms)
 *
 * @return
 * - BSP_STATUS_FAIL                if the i2c write failed or if value not polled
 *                                  within the amount of tries
 * - BSP_STATUS_OK                  otherwise
 */
int cs40l5x_write_acked_reg_dt(const struct i2c_dt_spec *spec, const uint32_t reg_addr,
			       uint32_t val, uint32_t acked_val, uint8_t tries, uint32_t delay);

/**
 * Update the driver's current haptic configuration for haptic triggers
 *
 * @param [in] dev                    Pointer to the driver state
 * @param [in] hap_cfg                Haptic source data structure containing
 * effect bank and index
 *
 * @return
 * - BSP_STATUS_FAIL if dev or hap_cfg invalid
 * - BSP_STATUS_OK                  otherwise
 */
int cs40l5x_set_haptic_cfg(const struct device *dev, struct cs40l5x_haptic_source_config *hap_cfg);

/**
 * Configure Diagnostics
 *
 * This function acts as a wrapper for the cs40l5x diagnostics configuration function, taking in a
 * diagnostic test mask to pass into the driver config data structure and call
 * cs40l5x_set_diagnostic_config to update the current diagnostic config with the data structure
 * contents.
 *
 * @param [in]  dev             data structure containing necessary device information
 * @param [out] test_mask       bitfield containing active diagnostic test categories
 *
 * @return
 * - BSP_STATUS_FAIL            if failure is detected during diagnostic configuration
 * - BSP_STATUS_OK              otherwise
 */
int haptics_cs40l5x_cfg_diagnostics(const struct device *dev, uint32_t test_mask);

/**
 * Perform Diagnostics
 *
 * This function acts as a wrapper for the cs40l5x diagnostics function, decoding and printing any
 * detected diagnostic errors. A diagnostic error mask is taken in and used to calculate a single
 * diagnostic output flag with masked tests omitted.
 *
 * @param [in]  dev             data structure containing necessary device information
 * @param [out] diag_data       bitfield output of diagnostics containing all diagnostics errors
 * detected
 * @param [in]  mask            bitmask of diagnostic error flags to omit from diag_flag
 * @param [out] diag_flag       boolean output flag that is set when any non-masked diagnostic
 * errors are detected
 *
 * @return
 * - BSP_STATUS_FAIL            if failure is detected during diagnostic function execution
 * - BSP_STATUS_OK              otherwise
 */
int haptics_cs40l5x_diagnostics(const struct device *dev, uint32_t *diag_data, uint32_t mask,
				bool *mask_flag);
#ifdef TEST_DIAGNOSTICS_EXTREMES
// Function to set min/max LRA_check vals such that diagnostic errors are triggered for testing
int haptics_cs40l5x_test_diagnostics(const struct device *dev, bool low);
#endif // TEST_DIAGNOSTICS_EXTREMES
#endif
```
